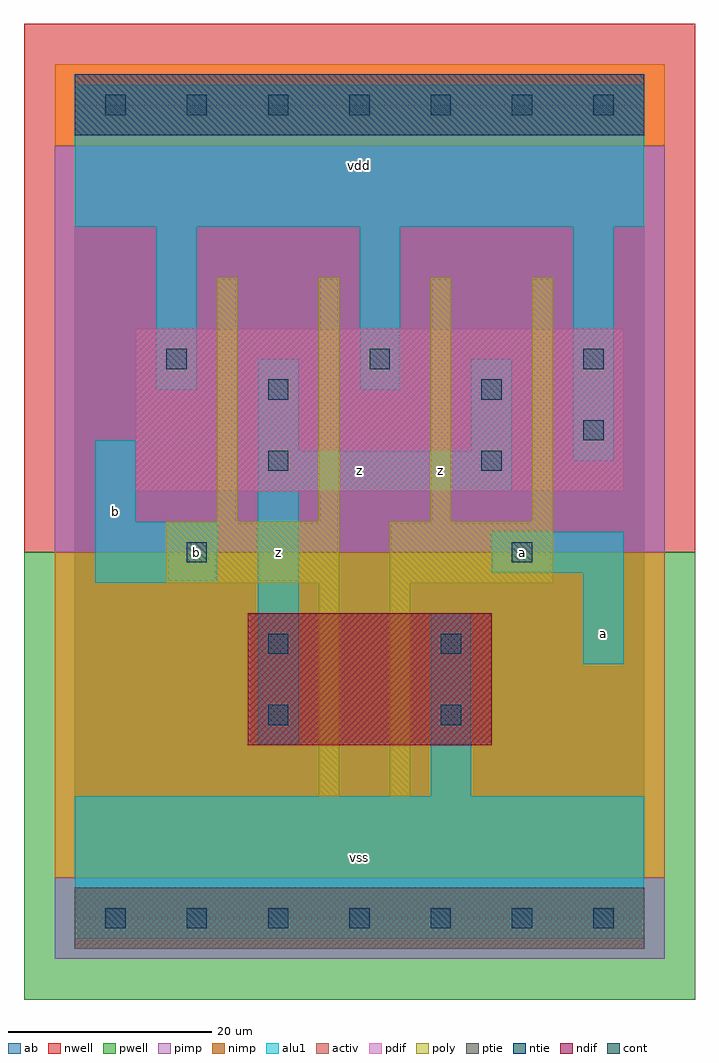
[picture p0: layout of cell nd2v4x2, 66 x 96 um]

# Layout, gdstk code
import gdstk
lib = gdstk.Library(unit=1e-6, precision=1e-09)
def R(c, l, rs):  # rectangles x0, y0, x1, y1
    for r in rs: c.add(gdstk.rectangle(r[:2], r[2:], *l))
def A(c, l, x, y, w, h, nx, ny, dx, dy):  # array of equal rectangles
    R(c, l, [(x+i*dx, y+j*dy, x+i*dx+w, y+j*dy+h) for i in range(nx) for j in range(ny)])
ndif = (3, 0)
pdif = (4, 0)
ntie = (5, 0)
ptie = (6, 0)
cont = (25, 0)
pwell = (41, 0)
nwell = (42, 0)
activ = (43, 0)
pimp = (44, 0)
nimp = (45, 0)
poly = (46, 0)
alu1 = (49, 0)
ab = (63, 0)

nd2v4x2 = lib.new_cell('nd2v4x2')
R(nd2v4x2, ndif, [(17,17,41,30)])
R(nd2v4x2, pdif, [(6,42,54,58)])
R(nd2v4x2, ntie, [(0,77,56,83)])
R(nd2v4x2, ptie, [(0,-3,56,3)])
A(nd2v4x2, cont, 3, -1, 2, 2, 7, 2, 8, 80)
R(nd2v4x2, cont, [(19,19,21,21), (36,19,38,21), (19,26,21,28), (36,26,38,28), (11,35,13,37), (43,35,45,37), (19,44,21,46), (40,44,42,46), (50,47,52,49), (19,51,21,53), (40,51,42,53), (9,54,11,56), (29,54,31,56), (50,54,52,56)])
R(nd2v4x2, pwell, [(-5,-8,61,36)])
R(nd2v4x2, nwell, [(-5,36,61,88)])
R(nd2v4x2, activ, [(0,-3,56,3), (17,17,41,30), (6,42,54,58), (0,77,56,83)])
R(nd2v4x2, pimp, [(-2,-4,58,4), (-2,36,58,76)])
R(nd2v4x2, nimp, [(-2,4,58,36), (-2,76,58,84)])
R(nd2v4x2, poly, [(24,12,26,33), (31,12,33,33), (9,33,26,39), (31,33,47,39), (14,39,16,63), (24,39,26,63), (35,39,37,63), (45,39,47,63)])
R(nd2v4x2, alu1, [(0,-2,56,12), (35,12,39,30), (18,17,22,42), (50,25,54,34), (2,33,14,39), (41,34,54,38), (2,39,6,47), (18,42,43,46), (49,45,53,68), (18,46,22,55), (39,46,43,55), (8,52,12,68), (28,52,32,68), (0,68,56,82)])
R(nd2v4x2, ab, [(0,0,56,80)])
nd2v4x2.add(gdstk.Label('b', (4,40), layer=49, texttype=0))
nd2v4x2.add(gdstk.Label('b', (12,36), layer=49, texttype=0))
nd2v4x2.add(gdstk.Label('z', (20,36), layer=49, texttype=0))
nd2v4x2.add(gdstk.Label('vss', (28,6), layer=49, texttype=0))
nd2v4x2.add(gdstk.Label('z', (36,44), layer=49, texttype=0))
nd2v4x2.add(gdstk.Label('z', (28,44), layer=49, texttype=0))
nd2v4x2.add(gdstk.Label('vdd', (28,74), layer=49, texttype=0))
nd2v4x2.add(gdstk.Label('a', (44,36), layer=49, texttype=0))
nd2v4x2.add(gdstk.Label('a', (52,28), layer=49, texttype=0))

lib.write_gds('nd2v4x2.gds')
